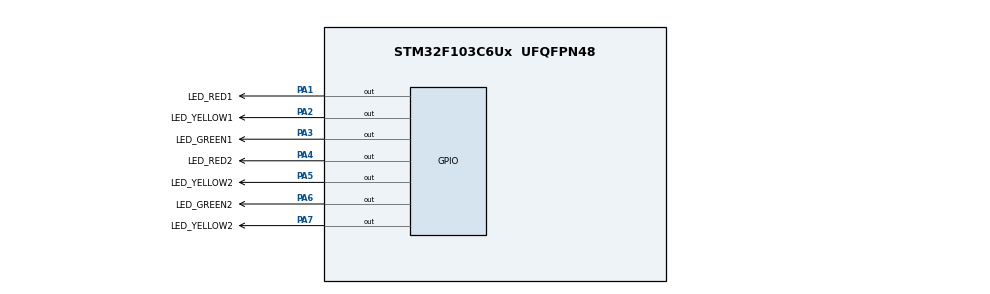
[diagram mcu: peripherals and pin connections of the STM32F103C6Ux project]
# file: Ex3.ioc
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Mcu.Family=STM32F1
Mcu.Name=STM32F103C6Ux
Mcu.Package=UFQFPN48
NVIC.PriorityGroup=NVIC_PRIORITYGROUP_4
PA1.GPIO_Label=LED_RED1
PA1.Signal=GPIO_Output
PA2.GPIO_Label=LED_YELLOW1
PA2.Signal=GPIO_Output
PA3.GPIO_Label=LED_GREEN1
PA3.Signal=GPIO_Output
PA4.GPIO_Label=LED_RED2
PA4.Signal=GPIO_Output
PA5.GPIO_Label=LED_YELLOW2
PA5.Signal=GPIO_Output
PA6.GPIO_Label=LED_GREEN2
PA6.Signal=GPIO_Output
PA7.GPIO_Label=LED_YELLOW2
PA7.Signal=GPIO_Output
ProjectManager.HeapSize=0x200
ProjectManager.StackSize=0x400
ProjectManager.TargetToolchain=STM32CubeIDE
RCC.APB1Freq_Value=8000000
RCC.APB2Freq_Value=8000000
VP_SYS_VS_ND.Mode=No_Debug
board=custom

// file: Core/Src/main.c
/* USER CODE BEGIN Header */
/**
  ******************************************************************************
  * @file           : main.c
  * @brief          : Main program body
  ******************************************************************************
  * @attention
  *
  * <h2><center>&copy; Copyright (c) 2023 STMicroelectronics.
  * All rights reserved.</center></h2>
  *
  * This software component is licensed by ST under BSD 3-Clause license,
  * the "License"; You may not use this file except in compliance with the
  * License. You may obtain a copy of the License at:
  *                        opensource.org/licenses/BSD-3-Clause
  *
  ******************************************************************************
  */
/* USER CODE END Header */
#include "main.h"

void SystemClock_Config(void);
static void MX_GPIO_Init(void);

int main(void)
{

  /* MCU Configuration--------------------------------------------------------*/

  /* Reset of all peripherals, Initializes the Flash interface and the Systick. */
  HAL_Init();

  /* Configure the system clock */
  SystemClock_Config();

  /* Initialize all configured peripherals */
  MX_GPIO_Init();

  /* Infinite loop */
  /* USER CODE BEGIN WHILE */
  enum trafficstatus{
  	GREEN1_RED2,
  	YELLOW1_RED2,
  	RED1_GREEN2,
  	RED1_YELLOW2,
  };
void trafficlight (enum trafficstatus current){
	switch(current){
	case GREEN1_RED2:
		HAL_GPIO_WritePin(LED_RED1_GPIO_Port, LED_RED1_Pin , SET);
		HAL_GPIO_WritePin(LED_YELLOW1_GPIO_Port, LED_YELLOW1_Pin , SET);
		HAL_GPIO_WritePin(LED_GREEN1_GPIO_Port, LED_GREEN1_Pin , RESET);
		HAL_GPIO_WritePin(LED_RED2_GPIO_Port, LED_RED2_Pin , RESET);
		HAL_GPIO_WritePin(LED_YELLOW2_GPIO_Port, LED_YELLOW2_Pin , SET);
		HAL_GPIO_WritePin(LED_GREEN2_GPIO_Port, LED_GREEN2_Pin , SET);
		break;
	case YELLOW1_RED2:
		HAL_GPIO_WritePin(LED_RED1_GPIO_Port, LED_RED1_Pin, SET);
		HAL_GPIO_WritePin(LED_YELLOW1_GPIO_Port, LED_YELLOW1_Pin , RESET);
		HAL_GPIO_WritePin(LED_GREEN1_GPIO_Port, LED_GREEN1_Pin , SET);
		HAL_GPIO_WritePin(LED_RED2_GPIO_Port, LED_RED2_Pin , RESET);
		HAL_GPIO_WritePin(LED_YELLOW2_GPIO_Port, LED_YELLOW2_Pin , SET);
		HAL_GPIO_WritePin(LED_GREEN2_GPIO_Port, LED_GREEN2_Pin , SET);
		break;
	case RED1_GREEN2:
		HAL_GPIO_WritePin(LED_RED1_GPIO_Port, LED_RED1_Pin , RESET);
		HAL_GPIO_WritePin(LED_YELLOW1_GPIO_Port, LED_YELLOW1_Pin , SET);
		HAL_GPIO_WritePin(LED_GREEN1_GPIO_Port, LED_GREEN1_Pin , SET);
		HAL_GPIO_WritePin(LED_RED2_GPIO_Port, LED_RED2_Pin , SET);
		HAL_GPIO_WritePin(LED_YELLOW2_GPIO_Port, LED_YELLOW2_Pin , SET);
		HAL_GPIO_WritePin(LED_GREEN2_GPIO_Port, LED_GREEN2_Pin , RESET);
		break;
	case RED1_YELLOW2:
		HAL_GPIO_WritePin(LED_RED1_GPIO_Port, LED_RED1_Pin , RESET);
		HAL_GPIO_WritePin(LED_YELLOW1_GPIO_Port, LED_YELLOW1_Pin , SET);
		HAL_GPIO_WritePin(LED_GREEN1_GPIO_Port, LED_GREEN1_Pin , SET);
		HAL_GPIO_WritePin(LED_RED2_GPIO_Port, LED_RED2_Pin , SET);
		HAL_GPIO_WritePin(LED_YELLOW2_GPIO_Port, LED_YELLOW2_Pin , RESET);
		HAL_GPIO_WritePin(LED_GREEN2_GPIO_Port, LED_GREEN2_Pin , SET);
		break;
	}
}
enum trafficstatus current = GREEN1_RED2;
int counter_green = 3;
int counter_yellow = 2;
while (1)
  {
    /* USER CODE END WHILE */
	  switch(current){
	  case GREEN1_RED2:
		  counter_green--;
		  trafficlight(current);
		  if(counter_green <= 0){
			  current = YELLOW1_RED2;
			  counter_green = 3;
		  }
		  break;
	  case YELLOW1_RED2:
		  counter_yellow--;
		  trafficlight(current);
		  if(counter_yellow <= 0){
			  current = RED1_GREEN2;
			  counter_yellow = 2;
		  }
		  break;
	  case RED1_GREEN2:
		  counter_green--;
		  trafficlight(current);
		  if(counter_green <= 0){
			  current = RED1_YELLOW2;
			  counter_green = 3;
		  }
		  break;
	  case RED1_YELLOW2:
		  counter_yellow--;
		  trafficlight(current);
		  if(counter_yellow <= 0){
			  current = GREEN1_RED2;
			  counter_yellow = 2;
		  }
		  break;
	  }
	  HAL_Delay(1000);
  }
}

void SystemClock_Config(void)
{
  RCC_OscInitTypeDef RCC_OscInitStruct = {0};
  RCC_ClkInitTypeDef RCC_ClkInitStruct = {0};

  /** Initializes the RCC Oscillators according to the specified parameters
  * in the RCC_OscInitTypeDef structure.
  */
  RCC_OscInitStruct.OscillatorType = RCC_OSCILLATORTYPE_HSI;
  RCC_OscInitStruct.HSIState = RCC_HSI_ON;
  RCC_OscInitStruct.HSICalibrationValue = RCC_HSICALIBRATION_DEFAULT;
  RCC_OscInitStruct.PLL.PLLState = RCC_PLL_NONE;
  if (HAL_RCC_OscConfig(&RCC_OscInitStruct) != HAL_OK)
  {
    Error_Handler();
  }
  /** Initializes the CPU, AHB and APB buses clocks
  */
  RCC_ClkInitStruct.ClockType = RCC_CLOCKTYPE_HCLK|RCC_CLOCKTYPE_SYSCLK
                              |RCC_CLOCKTYPE_PCLK1|RCC_CLOCKTYPE_PCLK2;
  RCC_ClkInitStruct.SYSCLKSource = RCC_SYSCLKSOURCE_HSI;
  RCC_ClkInitStruct.AHBCLKDivider = RCC_SYSCLK_DIV1;
  RCC_ClkInitStruct.APB1CLKDivider = RCC_HCLK_DIV1;
  RCC_ClkInitStruct.APB2CLKDivider = RCC_HCLK_DIV1;

  if (HAL_RCC_ClockConfig(&RCC_ClkInitStruct, FLASH_LATENCY_0) != HAL_OK)
  {
    Error_Handler();
  }
}

static void MX_GPIO_Init(void)
{
  GPIO_InitTypeDef GPIO_InitStruct = {0};

  /* GPIO Ports Clock Enable */
  __HAL_RCC_GPIOA_CLK_ENABLE();

  /*Configure GPIO pin Output Level */
  HAL_GPIO_WritePin(GPIOA, LED_RED1_Pin|LED_YELLOW1_Pin|LED_GREEN1_Pin|LED_RED2_Pin
                          |LED_YELLOW2_Pin|LED_GREEN2_Pin|LED_YELLOW2A7_Pin, GPIO_PIN_RESET);

  /*Configure GPIO pins : LED_RED1_Pin LED_YELLOW1_Pin LED_GREEN1_Pin LED_RED2_Pin
                           LED_YELLOW2_Pin LED_GREEN2_Pin LED_YELLOW2A7_Pin */
  GPIO_InitStruct.Pin = LED_RED1_Pin|LED_YELLOW1_Pin|LED_GREEN1_Pin|LED_RED2_Pin
                          |LED_YELLOW2_Pin|LED_GREEN2_Pin|LED_YELLOW2A7_Pin;
  GPIO_InitStruct.Mode = GPIO_MODE_OUTPUT_PP;
  GPIO_InitStruct.Pull = GPIO_NOPULL;
  GPIO_InitStruct.Speed = GPIO_SPEED_FREQ_LOW;
  HAL_GPIO_Init(GPIOA, &GPIO_InitStruct);

}

void Error_Handler(void)
{
  __disable_irq();
  while (1)
  {
  }
}

/************************ (C) COPYRIGHT STMicroelectronics *****END OF FILE****/
